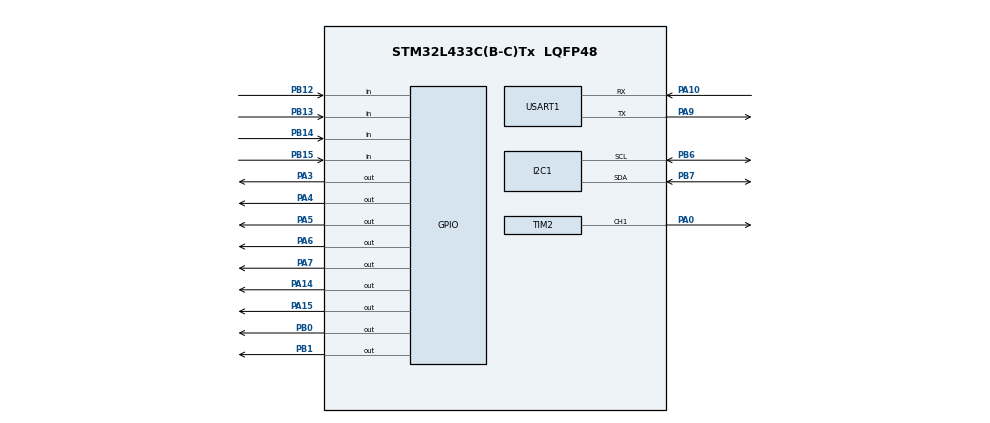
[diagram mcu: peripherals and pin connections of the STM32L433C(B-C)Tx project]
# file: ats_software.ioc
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FREERTOS.Mutexes01=uartMutex,Static,uartMutexControlBlock,Depleted;gpsDataMutex,Static,gpsDataMutexControlBlock,Available;targetPositionMutex,Static,targetPositionMutexControlBlock,Available;encoderPositionMutex,Static,encoderPositionMutexControlBlock,Available
FREERTOS.Tasks01=task_SelfGps,24,512,task_entry_SelfGps,Default,NULL,Static,task1Buffer,task1ControlBlock;task_TargetGps,24,512,task_entry_TargetGps,Default,NULL,Static,task2Buffer,task2ControlBlock;task_Calculate,24,512,task_entry_Calculate,Default,NULL,Static,task_CalculateBuffer,task_CalculateControlBlock;task_Encoder,24,512,task_entry_Encoder,Default,NULL,Static,task_EncoderBuffer,task_EncoderControlBlock;task_Stepper,24,512,task_entry_Stepper,Default,NULL,Static,task_StepperBuffer,task_StepperControlBlock;task_Servo,24,512,task_entry_Servo,Default,NULL,Static,task_ServoBuffer,task_ServoControlBlock
FREERTOS.configTOTAL_HEAP_SIZE=10000
FREERTOS.configUSE_NEWLIB_REENTRANT=1
I2C1.Timing=0x00100D14
Mcu.Family=STM32L4
Mcu.Name=STM32L433C(B-C)Tx
Mcu.Package=LQFP48
NVIC.PriorityGroup=NVIC_PRIORITYGROUP_4
NVIC.TIM6_DAC_IRQn=true\:15\:0\:false\:false\:true\:false\:false\:true\:true
NVIC.TimeBase=TIM6_DAC_IRQn
NVIC.TimeBaseIP=TIM6
PA0.Signal=S_TIM2_CH1
PA10.Mode=Asynchronous
PA10.Signal=USART1_RX
PA14\ (JTCK-SWCLK).Signal=GPIO_Output
PA15\ (JTDI).Signal=GPIO_Output
PA3.Signal=GPIO_Output
PA4.Signal=GPIO_Output
PA5.Signal=GPIO_Output
PA6.Signal=GPIO_Output
PA7.Signal=GPIO_Output
PA9.Mode=Asynchronous
PA9.Signal=USART1_TX
PB0.Signal=GPIO_Output
PB1.Signal=GPIO_Output
PB12.Signal=GPIO_Input
PB13.Signal=GPIO_Input
PB14.Signal=GPIO_Input
PB15.Signal=GPIO_Input
PB6.Mode=I2C
PB6.Signal=I2C1_SCL
PB7.Mode=I2C
PB7.Signal=I2C1_SDA
ProjectManager.HeapSize=0x200
ProjectManager.StackSize=0x400
ProjectManager.TargetToolchain=STM32CubeIDE
RCC.HSE_VALUE=8000000
RCC.HSI48_VALUE=48000000
RCC.HSI_VALUE=16000000
RCC.LSE_VALUE=32768
RCC.MSI_VALUE=4000000
RCC.VCOOutputFreq_Value=32000000
SH.S_TIM2_CH1.0=TIM2_CH1,PWM Generation1 CH1
TIM2.Channel-PWM\ Generation1\ CH1=TIM_CHANNEL_1
TIM2.Period=10000-1
TIM2.Prescaler=8-1
USART1.VirtualMode-Asynchronous=VM_ASYNC
VP_FREERTOS_VS_CMSIS_V2.Mode=CMSIS_V2
VP_SYS_VS_tim6.Mode=TIM6
VP_TIM2_VS_ClockSourceINT.Mode=Internal
board=custom

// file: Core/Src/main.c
/* USER CODE BEGIN Header */
/**
  ******************************************************************************
  * @file           : main.c
  * @brief          : Main program body
  ******************************************************************************
  * @attention
  *
  * Copyright (c) 2024 STMicroelectronics.
  * All rights reserved.
  *
  * This software is licensed under terms that can be found in the LICENSE file
  * in the root directory of this software component.
  * If no LICENSE file comes with this software, it is provided AS-IS.
  *
  ******************************************************************************
  */
/* USER CODE END Header */
#include "main.h"
#include "cmsis_os.h"

/* USER CODE BEGIN Includes */
#include "structs.h"
#include "self_gps.h"
#include "target_gps.h"
#include "calculate.h"
#include "encoder.h"
#include "stepper.h"
#include "servo.h"
/* USER CODE END Includes */

typedef StaticTask_t osStaticThreadDef_t;
typedef StaticSemaphore_t osStaticMutexDef_t;

I2C_HandleTypeDef hi2c1;

TIM_HandleTypeDef htim2;

UART_HandleTypeDef huart1;

/* Definitions for task_SelfGps */
osThreadId_t task_SelfGpsHandle;
uint32_t task1Buffer[ 512 ];
osStaticThreadDef_t task1ControlBlock;
const osThreadAttr_t task_SelfGps_attributes = {
  .name = "task_SelfGps",
  .cb_mem = &task1ControlBlock,
  .cb_size = sizeof(task1ControlBlock),
  .stack_mem = &task1Buffer[0],
  .stack_size = sizeof(task1Buffer),
  .priority = (osPriority_t) osPriorityNormal,
};
/* Definitions for task_TargetGps */
osThreadId_t task_TargetGpsHandle;
uint32_t task2Buffer[ 512 ];
osStaticThreadDef_t task2ControlBlock;
const osThreadAttr_t task_TargetGps_attributes = {
  .name = "task_TargetGps",
  .cb_mem = &task2ControlBlock,
  .cb_size = sizeof(task2ControlBlock),
  .stack_mem = &task2Buffer[0],
  .stack_size = sizeof(task2Buffer),
  .priority = (osPriority_t) osPriorityNormal,
};
/* Definitions for task_Calculate */
osThreadId_t task_CalculateHandle;
uint32_t task_CalculateBuffer[ 512 ];
osStaticThreadDef_t task_CalculateControlBlock;
const osThreadAttr_t task_Calculate_attributes = {
  .name = "task_Calculate",
  .cb_mem = &task_CalculateControlBlock,
  .cb_size = sizeof(task_CalculateControlBlock),
  .stack_mem = &task_CalculateBuffer[0],
  .stack_size = sizeof(task_CalculateBuffer),
  .priority = (osPriority_t) osPriorityNormal,
};
/* Definitions for task_Encoder */
osThreadId_t task_EncoderHandle;
uint32_t task_EncoderBuffer[ 512 ];
osStaticThreadDef_t task_EncoderControlBlock;
const osThreadAttr_t task_Encoder_attributes = {
  .name = "task_Encoder",
  .cb_mem = &task_EncoderControlBlock,
  .cb_size = sizeof(task_EncoderControlBlock),
  .stack_mem = &task_EncoderBuffer[0],
  .stack_size = sizeof(task_EncoderBuffer),
  .priority = (osPriority_t) osPriorityNormal,
};
/* Definitions for task_Stepper */
osThreadId_t task_StepperHandle;
uint32_t task_StepperBuffer[ 512 ];
osStaticThreadDef_t task_StepperControlBlock;
const osThreadAttr_t task_Stepper_attributes = {
  .name = "task_Stepper",
  .cb_mem = &task_StepperControlBlock,
  .cb_size = sizeof(task_StepperControlBlock),
  .stack_mem = &task_StepperBuffer[0],
  .stack_size = sizeof(task_StepperBuffer),
  .priority = (osPriority_t) osPriorityNormal,
};
/* Definitions for task_Servo */
osThreadId_t task_ServoHandle;
uint32_t task_ServoBuffer[ 512 ];
osStaticThreadDef_t task_ServoControlBlock;
const osThreadAttr_t task_Servo_attributes = {
  .name = "task_Servo",
  .cb_mem = &task_ServoControlBlock,
  .cb_size = sizeof(task_ServoControlBlock),
  .stack_mem = &task_ServoBuffer[0],
  .stack_size = sizeof(task_ServoBuffer),
  .priority = (osPriority_t) osPriorityNormal,
};
/* Definitions for uartMutex */
osMutexId_t uartMutexHandle;
osStaticMutexDef_t uartMutexControlBlock;
const osMutexAttr_t uartMutex_attributes = {
  .name = "uartMutex",
  .cb_mem = &uartMutexControlBlock,
  .cb_size = sizeof(uartMutexControlBlock),
};
/* Definitions for gpsDataMutex */
osMutexId_t gpsDataMutexHandle;
osStaticMutexDef_t gpsDataMutexControlBlock;
const osMutexAttr_t gpsDataMutex_attributes = {
  .name = "gpsDataMutex",
  .cb_mem = &gpsDataMutexControlBlock,
  .cb_size = sizeof(gpsDataMutexControlBlock),
};
/* Definitions for targetPositionMutex */
osMutexId_t targetPositionMutexHandle;
osStaticMutexDef_t targetPositionMutexControlBlock;
const osMutexAttr_t targetPositionMutex_attributes = {
  .name = "targetPositionMutex",
  .cb_mem = &targetPositionMutexControlBlock,
  .cb_size = sizeof(targetPositionMutexControlBlock),
};
/* Definitions for encoderPositionMutex */
osMutexId_t encoderPositionMutexHandle;
osStaticMutexDef_t encoderPositionMutexControlBlock;
const osMutexAttr_t encoderPositionMutex_attributes = {
  .name = "encoderPositionMutex",
  .cb_mem = &encoderPositionMutexControlBlock,
  .cb_size = sizeof(encoderPositionMutexControlBlock),
};

void SystemClock_Config(void);
static void MX_GPIO_Init(void);
static void MX_I2C1_Init(void);
static void MX_USART1_UART_Init(void);
static void MX_TIM2_Init(void);
void task_entry_SelfGps(void *argument);
void task_entry_TargetGps(void *argument);
void task_entry_Calculate(void *argument);
void task_entry_Encoder(void *argument);
void task_entry_Stepper(void *argument);
void task_entry_Servo(void *argument);

int main(void)
{

  /* MCU Configuration--------------------------------------------------------*/

  /* Reset of all peripherals, Initializes the Flash interface and the Systick. */
  HAL_Init();

  /* Configure the system clock */
  SystemClock_Config();

  /* Initialize all configured peripherals */
  MX_GPIO_Init();
  MX_I2C1_Init();
  MX_USART1_UART_Init();
  MX_TIM2_Init();

  /* Init scheduler */
  osKernelInitialize();
  /* Create the mutex(es) */
  /* creation of uartMutex */
  uartMutexHandle = osMutexNew(&uartMutex_attributes);

  /* creation of gpsDataMutex */
  gpsDataMutexHandle = osMutexNew(&gpsDataMutex_attributes);

  /* creation of targetPositionMutex */
  targetPositionMutexHandle = osMutexNew(&targetPositionMutex_attributes);

  /* creation of encoderPositionMutex */
  encoderPositionMutexHandle = osMutexNew(&encoderPositionMutex_attributes);

  /* USER CODE BEGIN RTOS_MUTEX */
  struct GpsData gps_data = {0, 0, 0, 0, 0, 0, &gpsDataMutexHandle};
  struct TargetPosition target_position = {0, 0, &targetPositionMutexHandle};
  struct EncoderPosition encoder_position = {0, &encoderPositionMutexHandle};
  struct DataPointers data_pointers = {&gps_data, &target_position, &encoder_position};
  /* USER CODE END RTOS_MUTEX */

  /* Create the thread(s) */
  /* creation of task_SelfGps */
  task_SelfGpsHandle = osThreadNew(task_entry_SelfGps, &data_pointers, &task_SelfGps_attributes);

  /* creation of task_TargetGps */
  task_TargetGpsHandle = osThreadNew(task_entry_TargetGps, &data_pointers, &task_TargetGps_attributes);

  /* creation of task_Calculate */
  task_CalculateHandle = osThreadNew(task_entry_Calculate, &data_pointers, &task_Calculate_attributes);

  /* creation of task_Encoder */
  task_EncoderHandle = osThreadNew(task_entry_Encoder, &data_pointers, &task_Encoder_attributes);

  /* creation of task_Stepper */
  task_StepperHandle = osThreadNew(task_entry_Stepper, &data_pointers, &task_Stepper_attributes);

  /* creation of task_Servo */
  task_ServoHandle = osThreadNew(task_entry_Servo, &data_pointers, &task_Servo_attributes);

  /* Start scheduler */
  osKernelStart();

  /* We should never get here as control is now taken by the scheduler */

  /* Infinite loop */
  while (1)
  {

  }
}

void SystemClock_Config(void)
{
  RCC_OscInitTypeDef RCC_OscInitStruct = {0};
  RCC_ClkInitTypeDef RCC_ClkInitStruct = {0};

  /** Configure the main internal regulator output voltage
  */
  if (HAL_PWREx_ControlVoltageScaling(PWR_REGULATOR_VOLTAGE_SCALE1) != HAL_OK)
  {
    Error_Handler();
  }

  /** Initializes the RCC Oscillators according to the specified parameters
  * in the RCC_OscInitTypeDef structure.
  */
  RCC_OscInitStruct.OscillatorType = RCC_OSCILLATORTYPE_MSI;
  RCC_OscInitStruct.MSIState = RCC_MSI_ON;
  RCC_OscInitStruct.MSICalibrationValue = 0;
  RCC_OscInitStruct.MSIClockRange = RCC_MSIRANGE_6;
  RCC_OscInitStruct.PLL.PLLState = RCC_PLL_NONE;
  if (HAL_RCC_OscConfig(&RCC_OscInitStruct) != HAL_OK)
  {
    Error_Handler();
  }

  /** Initializes the CPU, AHB and APB buses clocks
  */
  RCC_ClkInitStruct.ClockType = RCC_CLOCKTYPE_HCLK|RCC_CLOCKTYPE_SYSCLK
                              |RCC_CLOCKTYPE_PCLK1|RCC_CLOCKTYPE_PCLK2;
  RCC_ClkInitStruct.SYSCLKSource = RCC_SYSCLKSOURCE_MSI;
  RCC_ClkInitStruct.AHBCLKDivider = RCC_SYSCLK_DIV1;
  RCC_ClkInitStruct.APB1CLKDivider = RCC_HCLK_DIV1;
  RCC_ClkInitStruct.APB2CLKDivider = RCC_HCLK_DIV1;

  if (HAL_RCC_ClockConfig(&RCC_ClkInitStruct, FLASH_LATENCY_0) != HAL_OK)
  {
    Error_Handler();
  }
}

static void MX_I2C1_Init(void)
{

  hi2c1.Instance = I2C1;
  hi2c1.Init.Timing = 0x00100D14;
  hi2c1.Init.OwnAddress1 = 0;
  hi2c1.Init.AddressingMode = I2C_ADDRESSINGMODE_7BIT;
  hi2c1.Init.DualAddressMode = I2C_DUALADDRESS_DISABLE;
  hi2c1.Init.OwnAddress2 = 0;
  hi2c1.Init.OwnAddress2Masks = I2C_OA2_NOMASK;
  hi2c1.Init.GeneralCallMode = I2C_GENERALCALL_DISABLE;
  hi2c1.Init.NoStretchMode = I2C_NOSTRETCH_DISABLE;
  if (HAL_I2C_Init(&hi2c1) != HAL_OK)
  {
    Error_Handler();
  }

  /** Configure Analogue filter
  */
  if (HAL_I2CEx_ConfigAnalogFilter(&hi2c1, I2C_ANALOGFILTER_ENABLE) != HAL_OK)
  {
    Error_Handler();
  }

  /** Configure Digital filter
  */
  if (HAL_I2CEx_ConfigDigitalFilter(&hi2c1, 0) != HAL_OK)
  {
    Error_Handler();
  }

}

static void MX_TIM2_Init(void)
{

  TIM_ClockConfigTypeDef sClockSourceConfig = {0};
  TIM_MasterConfigTypeDef sMasterConfig = {0};
  TIM_OC_InitTypeDef sConfigOC = {0};

  htim2.Instance = TIM2;
  htim2.Init.Prescaler = 8-1;
  htim2.Init.CounterMode = TIM_COUNTERMODE_UP;
  htim2.Init.Period = 10000-1;
  htim2.Init.ClockDivision = TIM_CLOCKDIVISION_DIV1;
  htim2.Init.AutoReloadPreload = TIM_AUTORELOAD_PRELOAD_DISABLE;
  if (HAL_TIM_Base_Init(&htim2) != HAL_OK)
  {
    Error_Handler();
  }
  sClockSourceConfig.ClockSource = TIM_CLOCKSOURCE_INTERNAL;
  if (HAL_TIM_ConfigClockSource(&htim2, &sClockSourceConfig) != HAL_OK)
  {
    Error_Handler();
  }
  if (HAL_TIM_PWM_Init(&htim2) != HAL_OK)
  {
    Error_Handler();
  }
  sMasterConfig.MasterOutputTrigger = TIM_TRGO_RESET;
  sMasterConfig.MasterSlaveMode = TIM_MASTERSLAVEMODE_DISABLE;
  if (HAL_TIMEx_MasterConfigSynchronization(&htim2, &sMasterConfig) != HAL_OK)
  {
    Error_Handler();
  }
  sConfigOC.OCMode = TIM_OCMODE_PWM1;
  sConfigOC.Pulse = 0;
  sConfigOC.OCPolarity = TIM_OCPOLARITY_HIGH;
  sConfigOC.OCFastMode = TIM_OCFAST_DISABLE;
  if (HAL_TIM_PWM_ConfigChannel(&htim2, &sConfigOC, TIM_CHANNEL_1) != HAL_OK)
  {
    Error_Handler();
  }
  HAL_TIM_MspPostInit(&htim2);

}

static void MX_USART1_UART_Init(void)
{

  huart1.Instance = USART1;
  huart1.Init.BaudRate = 115200;
  huart1.Init.WordLength = UART_WORDLENGTH_8B;
  huart1.Init.StopBits = UART_STOPBITS_1;
  huart1.Init.Parity = UART_PARITY_NONE;
  huart1.Init.Mode = UART_MODE_TX_RX;
  huart1.Init.HwFlowCtl = UART_HWCONTROL_NONE;
  huart1.Init.OverSampling = UART_OVERSAMPLING_16;
  huart1.Init.OneBitSampling = UART_ONE_BIT_SAMPLE_DISABLE;
  huart1.AdvancedInit.AdvFeatureInit = UART_ADVFEATURE_NO_INIT;
  if (HAL_UART_Init(&huart1) != HAL_OK)
  {
    Error_Handler();
  }

}

static void MX_GPIO_Init(void)
{
  GPIO_InitTypeDef GPIO_InitStruct = {0};

  /* GPIO Ports Clock Enable */
  __HAL_RCC_GPIOA_CLK_ENABLE();
  __HAL_RCC_GPIOB_CLK_ENABLE();

  /*Configure GPIO pin Output Level */
  HAL_GPIO_WritePin(GPIOA, GPIO_PIN_3|GPIO_PIN_4|GPIO_PIN_5|GPIO_PIN_6
                          |GPIO_PIN_7|GPIO_PIN_14|GPIO_PIN_15, GPIO_PIN_RESET);

  /*Configure GPIO pin Output Level */
  HAL_GPIO_WritePin(GPIOB, GPIO_PIN_0|GPIO_PIN_1, GPIO_PIN_RESET);

  /*Configure GPIO pins : PA3 PA4 PA5 PA6
                           PA7 PA14 PA15 */
  GPIO_InitStruct.Pin = GPIO_PIN_3|GPIO_PIN_4|GPIO_PIN_5|GPIO_PIN_6
                          |GPIO_PIN_7|GPIO_PIN_14|GPIO_PIN_15;
  GPIO_InitStruct.Mode = GPIO_MODE_OUTPUT_PP;
  GPIO_InitStruct.Pull = GPIO_NOPULL;
  GPIO_InitStruct.Speed = GPIO_SPEED_FREQ_LOW;
  HAL_GPIO_Init(GPIOA, &GPIO_InitStruct);

  /*Configure GPIO pins : PB0 PB1 */
  GPIO_InitStruct.Pin = GPIO_PIN_0|GPIO_PIN_1;
  GPIO_InitStruct.Mode = GPIO_MODE_OUTPUT_PP;
  GPIO_InitStruct.Pull = GPIO_NOPULL;
  GPIO_InitStruct.Speed = GPIO_SPEED_FREQ_LOW;
  HAL_GPIO_Init(GPIOB, &GPIO_InitStruct);

  /*Configure GPIO pins : PB12 PB13 PB14 PB15 */
  GPIO_InitStruct.Pin = GPIO_PIN_12|GPIO_PIN_13|GPIO_PIN_14|GPIO_PIN_15;
  GPIO_InitStruct.Mode = GPIO_MODE_INPUT;
  GPIO_InitStruct.Pull = GPIO_NOPULL;
  HAL_GPIO_Init(GPIOB, &GPIO_InitStruct);

}

void task_entry_SelfGps(void *argument)
{
  /* USER CODE BEGIN 5 */
  self_gps_init(&hi2c1);
  /* Infinite loop */
  for(;;)
  {
	self_gps_update(&hi2c1, ((struct DataPointers*)argument)->gps_data);
    osDelay(10);
  }
  /* USER CODE END 5 */
}

void task_entry_TargetGps(void *argument)
{
  /* USER CODE BEGIN task_entry_TargetGps */
  target_gps_init();
  /* Infinite loop */
  for(;;)
  {
	target_gps_update(((struct DataPointers*)argument)->gps_data);
    osDelay(10);
  }
  /* USER CODE END task_entry_TargetGps */
}

void task_entry_Calculate(void *argument)
{
  /* USER CODE BEGIN task_entry_Calculate */
  /* Infinite loop */
  for(;;)
  {
	calculate_update(((struct DataPointers*)argument)->gps_data, ((struct DataPointers*)argument)->target_position);
    osDelay(10);
  }
  /* USER CODE END task_entry_Calculate */
}

void task_entry_Encoder(void *argument)
{
  /* USER CODE BEGIN task_entry_Encoder */
  encoder_init();
  /* Infinite loop */
  for(;;)
  {
	encoder_update(((struct DataPointers*)argument)->encoder_position);
    osDelay(10);
  }
  /* USER CODE END task_entry_Encoder */
}

void task_entry_Stepper(void *argument)
{
  /* USER CODE BEGIN task_entry_Stepper */
  stepper_init();
  /* Infinite loop */
  for(;;)
  {
	stepper_update(((struct DataPointers*)argument)->encoder_position, ((struct DataPointers*)argument)->target_position);
    osDelay(10);
  }
  /* USER CODE END task_entry_Stepper */
}

void task_entry_Servo(void *argument)
{
  /* USER CODE BEGIN task_entry_Servo */
  servo_init(&htim2);
  /* Infinite loop */
  for(;;)
  {
	servo_update(&htim2, ((struct DataPointers*)argument)->target_position);
    osDelay(10);
  }
  /* USER CODE END task_entry_Servo */
}

void HAL_TIM_PeriodElapsedCallback(TIM_HandleTypeDef *htim)
{
  if (htim->Instance == TIM6) {
    HAL_IncTick();
  }
}

void Error_Handler(void)
{
  __disable_irq();
  while (1)
  {
  }
}
